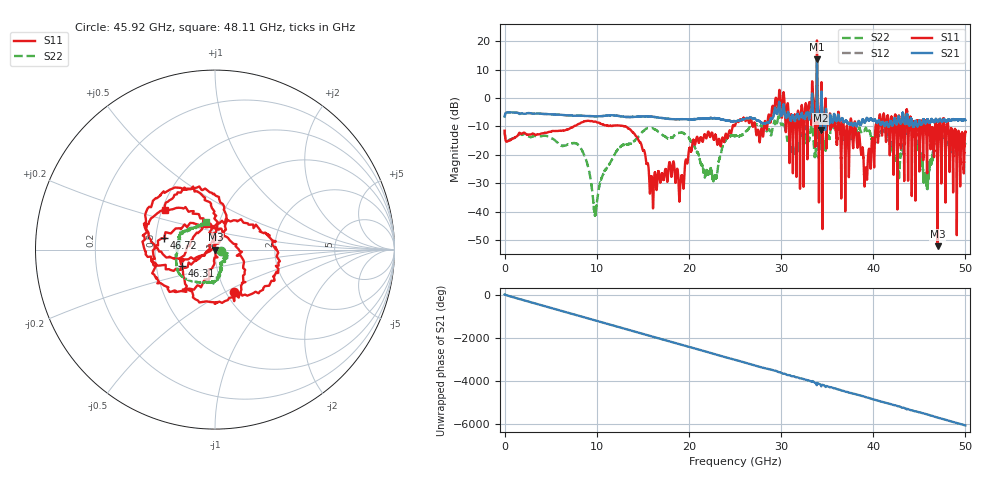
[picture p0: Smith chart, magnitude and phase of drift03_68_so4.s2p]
!Created with skrf (http://scikit-rf.org).
# Hz S RI R 50.0
!freq ReS11 ImS11 ReS21 ImS21 ReS12 ImS12 ReS22 ImS22
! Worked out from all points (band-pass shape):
!   10001 points, 300 kHz to 50 GHz, reference 50 ohm
!   highest |S21| = 13.66 dB at 33.9 GHz (marker M1); lowest = -11.4 dB at 34.32 GHz (marker M2)
!   |S21| within 3 dB of the highest: 33.89045 GHz to 33.9043 GHz (13.86 MHz wide, 0.0409 % of centre)
!   lowest |S11| = -52.2 dB at 46.99 GHz (marker M3), VSWR 1.00, Z = 50.2 - j0.0103 ohm
!   |S11| at or under -10 dB: start of sweep to 7.485 GHz; 13.13 GHz to 24.74 GHz (11.61 GHz wide, 61.3 % of centre); 38.09 GHz to 40.25 GHz (2.159 GHz wide, 5.51 % of centre) (the widest 3 of 50)
!   |S22| runs from -41.4 to 6.1 dB; largest |S21 - S12| = 0.36
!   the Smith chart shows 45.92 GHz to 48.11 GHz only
!   S11 on the Smith chart (normalised r, x): 45.92 GHz: 1.09, -0.55; 46.31 GHz: 0.68, -0.13; 46.72 GHz: 0.55, +0.08; 48.11 GHz: 0.52, +0.26
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300000  -0.236 -0.1223  0.4656 0.0799  0.4663 0.0815  -0.2368 -0.1297
1.440291e9  0.2099 0.0649  -0.5478 -0.0293  -0.548 -0.0293  0.2114 -0.00397
2.915283e9  -0.2122 -0.0878  0.5343 0.0513  0.5347 0.0516  -0.2018 0.0402
4.415274e9  0.2057 0.1322  -0.5218 -0.0422  -0.5221 -0.0422  0.1987 -0.0875
8.33525e9  0.2886 -0.2338  0.146 0.4659  0.146 0.4662  -0.0724 -0.1019
9.840241e9  -0.3649 0.1252  -0.1431 -0.4536  -0.1435 -0.4542  0.00856 0.00204
1.66702e10  0.0268 0.0432  -0.3785 0.2533  -0.3785 0.2535  -0.1287 -0.22
2.500015e10  -0.3266 -0.0147  -0.2546 -0.2972  -0.2544 -0.2988  -0.2136 0.0277
2.895013e10  -0.3222 0.4226  -0.292 0.3247  -0.305 0.2883  0.0623 0.2226
3.006512e10  0.4001 0.2646  0.4499 -0.1977  0.4529 -0.1835  0.1766 -0.2979
3.171011e10  -0.0938 0.1883  -0.36 0.3594  -0.3646 0.3543  0.0654 0.1609
3.33351e10  0.6466 -0.8354  0.2498 -0.8564  0.2541 -0.8374  -0.1934 -0.4249
3.38951e10  -2.576 -10.04  -4.744 0.8626  -4.444 1.053  0.5389 1.948
3.432009e10  -0.7779 -0.00019  -0.1801 0.1992  -0.2433 0.1793  0.1421 -0.0747
3.918506e10  0.0546 0.0166  0.2128 -0.3488  0.2185 -0.3444  -0.2688 -0.1315
4.167005e10  -0.2108 0.304  0.3133 -0.00131  0.3143 0.00676  -0.1879 -0.0125
4.592002e10  0.1052 -0.2363  -0.3578 -0.2186  -0.3581 -0.218  0.036 -0.00726
4.631002e10  -0.1836 -0.0921  -0.3904 0.1552  -0.3857 0.1483  0.0474 -0.049
4.671502e10  -0.2832 0.0643  -0.1163 0.388  -0.1136 0.3902  -0.011 -0.1825
4.699002e10  0.00245 -0.000102  0.0985 0.3726  0.0989 0.3738  -0.133 -0.1757
4.810501e10  -0.2811 0.223  0.1986 -0.356  0.2006 -0.3558  -0.0505 0.1542
5e10  -0.1217 -0.2283  0.1431 0.383  0.144 0.3842  -0.0523 -0.1444
